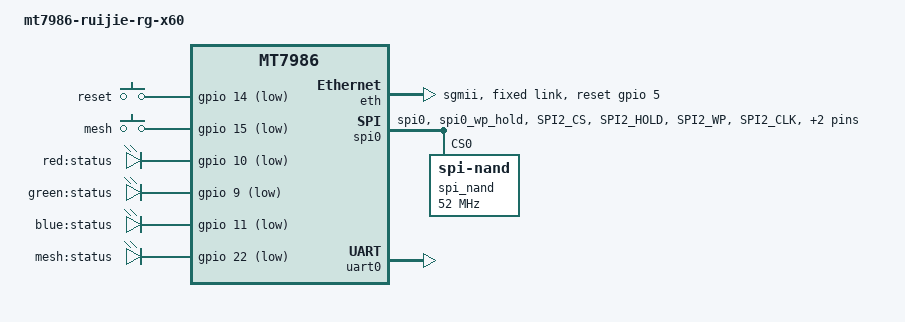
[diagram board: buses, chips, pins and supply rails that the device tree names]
// SPDX-License-Identifier: GPL-2.0-or-later

/dts-v1/;
#include "mt7986.dtsi"
#include <dt-bindings/gpio/gpio.h>

/ {
	#address-cells = <1>;
	#size-cells = <1>;
	model = "mt7986-ruijie-rg-x60";
	compatible = "mediatek,mt7986", "mediatek,mt7986-rfb";

	chosen {
		stdout-path = &uart0;
		tick-timer = &timer0;
	};

	config {
		bootcmd = "mtkboardboot";
		blink_led = "red:status";
		system_led = "green:status";

		environment {
			bootconf = "config@ruijie_x60_gsw_en8811h_phy";
		};
	};

	mtd-layout {
		layout@0 {
			label = "default";
			cmdline = "console=ttyS0,115200n8 earlycon=uart8250,mmio32,0x11002000";
			mtdids = "nmbm0=nmbm0";
			mtdparts = "nmbm0:1024k(bl2),512k(u-boot-env),2048k(Factory),2048k(fip),512k(product_info),512k(kdump),64512k(ubi)";
		};

		layout@1 {
			label = "ubi-107m";
			mtdids = "nmbm0=nmbm0";
			mtdparts = "nmbm0:1024k(bl2),512k(u-boot-env),2048k(Factory),2048k(fip),512k(product_info),512k(kdump),109568k(ubi)";
		};
	};

	gpio-keys {
		compatible = "gpio-keys";

		reset-button {
			label = "reset";
			linux,code = <KEY_RESTART>;
			gpios = <&gpio 14 GPIO_ACTIVE_LOW>;
		};

		mesh-button {
			label = "mesh";
			linux,code = <BTN_9>;
			gpios = <&gpio 15 GPIO_ACTIVE_LOW>;
		};

	};

	gpio-leds {
		compatible = "gpio-leds";

		red_led: led-0 {
			label = "red:status";
			gpios = <&gpio 10 GPIO_ACTIVE_LOW>;
		};

		green_led: led-1 {
			label = "green:status";
			gpios = <&gpio 9 GPIO_ACTIVE_LOW>;
		};

		blue_led: led-2 {
			label = "blue:status";
			gpios = <&gpio 11 GPIO_ACTIVE_LOW>;
		};

		mesh_led: led-3 {
			label = "mesh:status";
			gpios = <&gpio 22 GPIO_ACTIVE_LOW>;
		};
	};
};

&eth {
	status = "okay";
	mediatek,gmac-id = <0>;
	phy-mode = "sgmii";
	mediatek,switch = "mt7531";
	reset-gpios = <&gpio 5 GPIO_ACTIVE_HIGH>;

	fixed-link {
		speed = <1000>;
		full-duplex;
	};
};

&pinctrl {
	spi_flash_pins: spi0-pins-func-1 {
		mux {
			function = "flash";
			groups = "spi0", "spi0_wp_hold";
		};

		conf-pu {
			pins = "SPI2_CS", "SPI2_HOLD", "SPI2_WP";
			drive-strength = <MTK_DRIVE_8mA>;
			bias-pull-up = <MTK_PUPD_SET_R1R0_11>;
		};

		conf-pd {
			pins = "SPI2_CLK", "SPI2_MOSI", "SPI2_MISO";
			drive-strength = <MTK_DRIVE_8mA>;
			bias-pull-down = <MTK_PUPD_SET_R1R0_11>;
		};
	};
};

&spi0 {
	#address-cells = <1>;
	#size-cells = <0>;
	pinctrl-names = "default";
	pinctrl-0 = <&spi_flash_pins>;
	status = "okay";
	must_tx;
	enhance_timing;
	dma_ext;
	ipm_design;
	support_quad;
	tick_dly = <2>;
	sample_sel = <0>;

	spi_nand@0 {
		compatible = "spi-nand";
		reg = <0>;
		spi-max-frequency = <52000000>;
	};
};

&uart0 {
	status = "okay";
};

&watchdog {
	status = "disabled";
};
